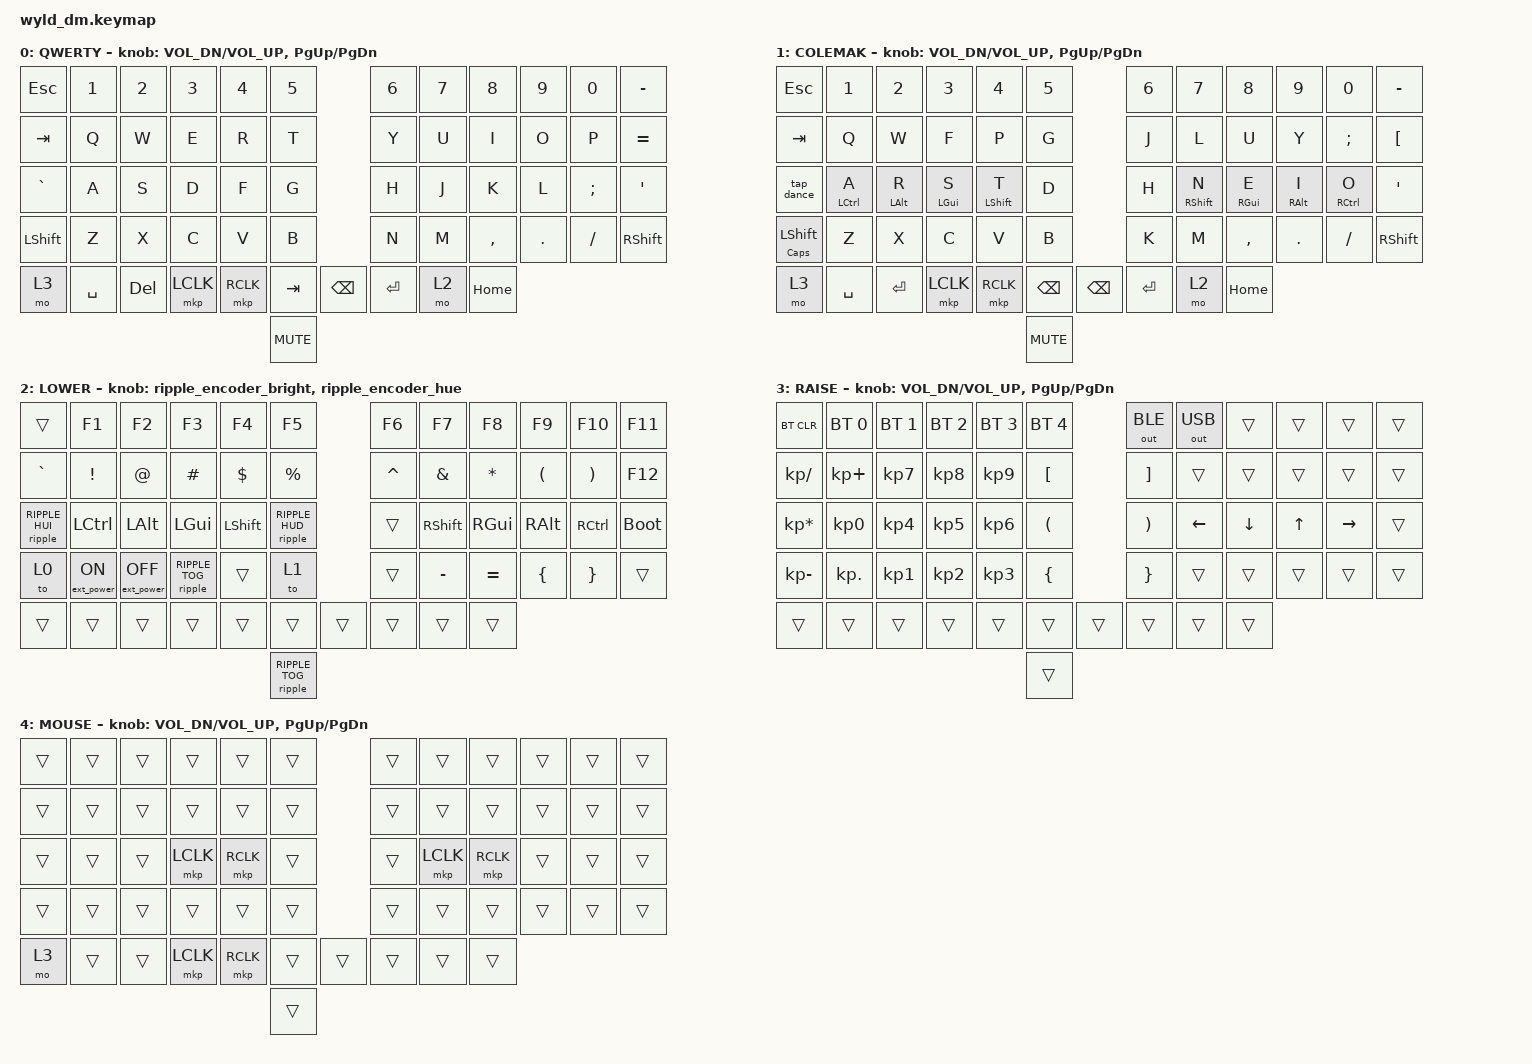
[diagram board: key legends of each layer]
/*
 * Copyright (c) 2020 The ZMK Contributors
 *
 * SPDX-License-Identifier: MIT
 */

#include <dt-bindings/led/led.h>
#include <behaviors/mouse_keys.dtsi>
#include <dt-bindings/zmk/mouse.h>
#include <behaviors.dtsi>
#include <dt-bindings/zmk/bt.h>
#include <dt-bindings/zmk/ext_power.h>
#include <dt-bindings/zmk/keys.h>
#include <dt-bindings/zmk/outputs.h>
#include <dt-bindings/zmk/ripple.h>

// triggering build

#define QWERTY 0
#define COLEMAK 1
#define LOWER 2
#define RAISE 3
#define MOUSE 4

//# 4x6 with encoders

/ {
    behaviors {
        ripple: ripple {
            compatible = "zmk,behavior-ripple";
            #binding-cells = <1>;
        };

        ripple_encoder_bright: ripple_encoder_bright {
            compatible = "zmk,behavior-sensor-rotate";
            #sensor-binding-cells = <0>;
            bindings = <&ripple RIPPLE_BRI>, <&ripple RIPPLE_BRD>;
        };

        ripple_encoder_hue: ripple_encoder_hue {
            compatible = "zmk,behavior-sensor-rotate";
            #sensor-binding-cells = <0>;
            bindings = <&ripple RIPPLE_HUI>, <&ripple RIPPLE_HUD>;
        };

        caps: caps {
            compatible = "zmk,behavior-hold-tap";
            label = "CAPS";
            bindings = <&kp>, <&kp>;

            #binding-cells = <2>;
            tapping-term-ms = <250>;
            flavor = "tap-preferred";
        };

        hml: hml {
            compatible = "zmk,behavior-hold-tap";
            label = "HML";
            bindings = <&kp>, <&kp>;

            #binding-cells = <2>;
            tapping-term-ms = <280>;
            require-prior-idle-ms = <125>;
            flavor = "balanced";
            quick-tap-ms = <175>;
            hold-trigger-key-positions = <6 7 8 9 10 11 22 21 20 18 19 30 31 32 33 23 35 34 43 42 44 45 46 47 54 55 56>;
            hold-trigger-on-release;
        };

        hmr: hmr {
            compatible = "zmk,behavior-hold-tap";
            label = "HMR";
            bindings = <&kp>, <&kp>;

            #binding-cells = <2>;
            tapping-term-ms = <280>;
            require-prior-idle-ms = <125>;
            flavor = "balanced";
            quick-tap-ms = <175>;
            hold-trigger-on-release;
            hold-trigger-key-positions = <0 1 2 3 4 5 12 13 14 15 16 17 24 25 26 27 28 29 36 37 38 39 40 41>;
        };

        tap_dance: tap_dance {
            compatible = "zmk,behavior-tap-dance";
            label = "TAP_DANCE";
            #binding-cells = <0>;
            bindings = <&kp TAB>, <&kp ESC>;
        };
    };

    keymap {
        compatible = "zmk,keymap";

        qwerty_layer {
            display-name = "QWERTY";
            bindings = <
&kp ESC    &kp N1     &kp N2   &kp N3     &kp N4     &kp N5                &kp N6     &kp N7  &kp N8     &kp N9   &kp N0    &kp MINUS
&kp TAB    &kp Q      &kp W    &kp E      &kp R      &kp T                 &kp Y      &kp U   &kp I      &kp O    &kp P     &kp EQUAL
&kp GRAVE  &kp A      &kp S    &kp D      &kp F      &kp G                 &kp H      &kp J   &kp K      &kp L    &kp SEMI  &kp SQT
&kp LSHFT  &kp Z      &kp X    &kp C      &kp V      &kp B                 &kp N      &kp M   &kp COMMA  &kp DOT  &kp FSLH  &kp RSHFT
&mo 3      &kp SPACE  &kp DEL  &mkp LCLK  &mkp RCLK  &kp TAB     &kp BSPC  &kp ENTER  &mo 2   &kp HOME
                                                     &kp K_MUTE
            >;

            sensor-bindings = <&inc_dec_kp C_VOL_DN C_VOL_UP &inc_dec_kp PG_UP PG_DN>;
        };

        colemak_layer {
            display-name = "COLEMAK";
            bindings = <
&kp ESC            &kp N1               &kp N2           &kp N3       &kp N4             &kp N5                   &kp N6     &kp N7              &kp N8       &kp N9            &kp N0                &kp MINUS
&kp TAB            &kp Q                &kp W            &kp F        &kp P              &kp G                    &kp J      &kp L               &kp U        &kp Y             &kp SEMI              &kp LBKT
&tap_dance         &hml LEFT_CONTROL A  &hml LEFT_ALT R  &hml LGUI S  &hml LEFT_SHIFT T  &kp D                    &kp H      &hmr RIGHT_SHIFT N  &hmr RGUI E  &hmr RIGHT_ALT I  &hmr RIGHT_CONTROL O  &kp SQT
&caps CAPS LSHIFT  &kp Z                &kp X            &kp C        &kp V              &kp B                    &kp K      &kp M               &kp COMMA    &kp DOT           &kp FSLH              &kp RSHFT
&mo 3              &kp SPACE            &kp ENTER        &mkp LCLK    &mkp RCLK          &kp BACKSPACE  &kp BSPC  &kp ENTER  &mo 2               &kp HOME
                                                                                         &kp K_MUTE
            >;

            sensor-bindings = <&inc_dec_kp C_VOL_DN C_VOL_UP &inc_dec_kp PG_UP PG_DN>;
        };

        lower_layer {
            display-name = "LOWER";
            bindings = <
&trans            &kp F1              &kp F2              &kp F3            &kp F4            &kp F5                 &kp F6      &kp F7            &kp F8      &kp F9          &kp F10             &kp F11
&kp GRAVE         &kp EXCL            &kp AT              &kp HASH          &kp DOLLAR        &kp PRCNT              &kp CARET   &kp AMPS          &kp ASTRK   &kp LPAR        &kp RPAR            &kp F12
&ripple RIPPLE_HUI &kp LEFT_CONTROL    &kp LEFT_ALT        &kp LGUI          &kp LEFT_SHIFT    &ripple RIPPLE_HUD     &trans      &kp RIGHT_SHIFT   &kp RGUI    &kp RIGHT_ALT   &kp RIGHT_CONTROL   &bootloader
&to 0             &ext_power EP_ON    &ext_power EP_OFF   &ripple RIPPLE_TOG &trans            &to 1                  &trans      &kp MINUS         &kp EQUAL   &kp LBRC        &kp RBRC            &trans
&trans            &trans              &trans              &trans            &trans            &trans                 &trans      &trans            &trans      &trans
																																															&ripple RIPPLE_TOG
            >;

            sensor-bindings = <&ripple_encoder_bright &ripple_encoder_hue>;
        };

        raise_layer {
            display-name = "RAISE";
            bindings = <
&bt BT_CLR       &bt BT_SEL 0  &bt BT_SEL 1  &bt BT_SEL 2  &bt BT_SEL 3  &bt BT_SEL 4            &out OUT_BLE           &out OUT_USB  &trans    &trans  &trans     &trans
&kp KP_DIVIDE    &kp KP_PLUS   &kp KP_N7     &kp KP_N8     &kp KP_N9     &kp LBKT                &kp RBKT               &trans        &trans    &trans  &trans     &trans
&kp KP_MULTIPLY  &kp KP_N0     &kp KP_N4     &kp KP_N5     &kp KP_N6     &kp LPAR                &kp RIGHT_PARENTHESIS  &kp LEFT      &kp DOWN  &kp UP  &kp RIGHT  &trans
&kp KP_SUBTRACT  &kp KP_DOT    &kp KP_N1     &kp KP_N2     &kp KP_N3     &kp LEFT_BRACE          &kp RIGHT_BRACE        &trans        &trans    &trans  &trans     &trans
&trans           &trans        &trans        &trans        &trans        &trans          &trans  &trans                 &trans        &trans
                                                                         &trans
            >;

            sensor-bindings = <&inc_dec_kp C_VOL_DN C_VOL_UP &inc_dec_kp PG_UP PG_DN>;
        };

        mouse_layer {
            display-name = "MOUSE";
            bindings = <
&trans  &trans  &trans  &trans     &trans     &trans          &trans  &trans     &trans     &trans  &trans  &trans
&trans  &trans  &trans  &trans     &trans     &trans          &trans  &trans     &trans     &trans  &trans  &trans
&trans  &trans  &trans  &mkp LCLK  &mkp RCLK  &trans          &trans  &mkp LCLK  &mkp RCLK  &trans  &trans  &trans
&trans  &trans  &trans  &trans     &trans     &trans          &trans  &trans     &trans     &trans  &trans  &trans
&mo 3   &trans  &trans  &mkp LCLK  &mkp RCLK  &trans  &trans  &trans  &trans     &trans
                                              &trans
            >;

            sensor-bindings = <&inc_dec_kp C_VOL_DN C_VOL_UP &inc_dec_kp PG_UP PG_DN>;
        };
    };
};
